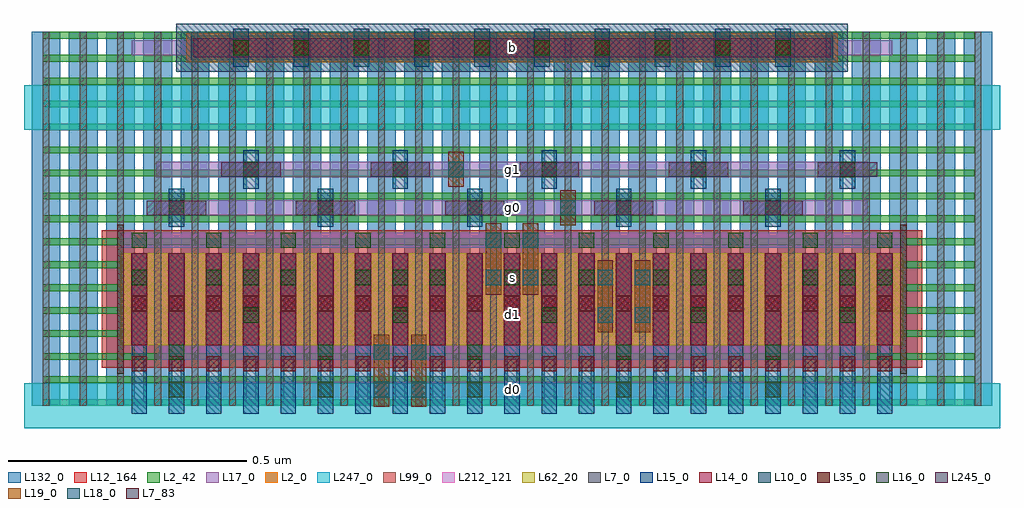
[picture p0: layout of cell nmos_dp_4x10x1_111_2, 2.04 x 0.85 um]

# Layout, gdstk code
import gdstk
lib = gdstk.Library(unit=1e-6, precision=1e-12)
def R(c, l, rs):  # rectangles x0, y0, x1, y1
    for r in rs: c.add(gdstk.rectangle(r[:2], r[2:], *l))
def A(c, l, x, y, w, h, nx, ny, dx, dy):  # array of equal rectangles
    R(c, l, [(x+i*dx, y+j*dy, x+i*dx+w, y+j*dy+h) for i in range(nx) for j in range(ny)])
L2_0 = (2, 0)
L2_42 = (2, 42)
L7_0 = (7, 0)
L7_83 = (7, 83)
L10_0 = (10, 0)
L12_164 = (12, 164)
L14_0 = (14, 0)
L15_0 = (15, 0)
L16_0 = (16, 0)
L17_0 = (17, 0)
L18_0 = (18, 0)
L19_0 = (19, 0)
L35_0 = (35, 0)
L62_20 = (62, 20)
L99_0 = (99, 0)
L132_0 = (132, 0)
L212_121 = (212, 121)
L245_0 = (245, 0)
L247_0 = (247, 0)

nmos_dp_4x10x1_111_2 = lib.new_cell('nmos_dp_4x10x1_111_2')
R(nmos_dp_4x10x1_111_2, L2_0, [(0.186,0.127,1.824,0.319), (0.323,0.719,1.687,0.779)])
A(nmos_dp_4x10x1_111_2, L2_42, 0.023, 0, 1.95, 0.014, 1, 17, 0, 0.048)
A(nmos_dp_4x10x1_111_2, L7_0, 0.023, 0, 0.014, 0.782, 26, 1, 0.078, 0)
R(nmos_dp_4x10x1_111_2, L7_83, [(0.179,0.067,0.193,0.379), (1.817,0.067,1.831,0.379)])
R(nmos_dp_4x10x1_111_2, L10_0, [(0.303,0.699,1.707,0.799)])
R(nmos_dp_4x10x1_111_2, L12_164, [(0.147,0.079,1.863,0.367)])
A(nmos_dp_4x10x1_111_2, L14_0, 0.208, 0.127, 0.034, 0.192, 21, 1, 0.078, 0)
R(nmos_dp_4x10x1_111_2, L14_0, [(0.338,0.729,1.672,0.769)])
A(nmos_dp_4x10x1_111_2, L15_0, 0.209, -0.017, 0.032, 0.336, 21, 1, 0.078, 0)
A(nmos_dp_4x10x1_111_2, L15_0, 0.287, 0.374, 0.032, 0.08, 5, 1, 0.312, 0)
A(nmos_dp_4x10x1_111_2, L15_0, 0.443, 0.454, 0.032, 0.08, 5, 1, 0.312, 0)
A(nmos_dp_4x10x1_111_2, L15_0, 0.422, 0.709, 0.032, 0.08, 10, 1, 0.126, 0)
A(nmos_dp_4x10x1_111_2, L16_0, 0.287, 0.018, 0.032, 0.032, 5, 2, 0.312, 0.078)
A(nmos_dp_4x10x1_111_2, L16_0, 0.443, 0.174, 0.032, 0.032, 5, 2, 0.312, 0.304)
A(nmos_dp_4x10x1_111_2, L16_0, 0.365, 0.252, 0.032, 0.032, 3, 1, 0.078, 0)
A(nmos_dp_4x10x1_111_2, L16_0, 0.677, 0.252, 0.032, 0.032, 3, 1, 0.078, 0)
A(nmos_dp_4x10x1_111_2, L16_0, 0.989, 0.252, 0.032, 0.032, 3, 1, 0.078, 0)
A(nmos_dp_4x10x1_111_2, L16_0, 1.301, 0.252, 0.032, 0.032, 3, 1, 0.078, 0)
A(nmos_dp_4x10x1_111_2, L16_0, 1.613, 0.252, 0.032, 0.032, 3, 1, 0.078, 0)
A(nmos_dp_4x10x1_111_2, L16_0, 0.209, 0.33, 0.032, 0.032, 11, 1, 0.156, 0)
A(nmos_dp_4x10x1_111_2, L16_0, 0.287, 0.398, 0.032, 0.032, 5, 1, 0.312, 0)
A(nmos_dp_4x10x1_111_2, L16_0, 0.422, 0.733, 0.032, 0.032, 10, 1, 0.126, 0)
R(nmos_dp_4x10x1_111_2, L16_0, [(0.209,0.252,0.241,0.284)])
A(nmos_dp_4x10x1_111_2, L17_0, 0.267, 0.018, 1.476, 0.032, 1, 4, 0, 0.078)
R(nmos_dp_4x10x1_111_2, L17_0, [(0.186,0.252,1.824,0.284), (0.186,0.33,1.824,0.362), (0.261,0.398,1.749,0.43), (0.261,0.478,1.749,0.51), (0.209,0.733,1.801,0.765)])
R(nmos_dp_4x10x1_111_2, L18_0, [(0.716,0.018,0.748,0.05), (0.794,0.018,0.826,0.05), (0.716,0.096,0.748,0.128), (0.794,0.096,0.826,0.128), (1.184,0.174,1.216,0.206), (1.262,0.174,1.294,0.206), (0.95,0.252,0.982,0.284), (1.028,0.252,1.06,0.284), (1.184,0.252,1.216,0.284), (1.262,0.252,1.294,0.284), (0.95,0.33,0.982,0.362), (1.028,0.33,1.06,0.362), (1.106,0.398,1.138,0.43), (0.872,0.478,0.904,0.51)])
R(nmos_dp_4x10x1_111_2, L19_0, [(0.716,-0.002,0.748,0.148), (0.794,-0.002,0.826,0.148), (1.184,0.154,1.216,0.304), (1.262,0.154,1.294,0.304), (0.95,0.232,0.982,0.382), (1.028,0.232,1.06,0.382), (1.106,0.378,1.138,0.451), (0.872,0.458,0.904,0.531)])
A(nmos_dp_4x10x1_111_2, L35_0, 0.209, 0.072, 0.032, 0.032, 21, 2, 0.078, 0.126)
A(nmos_dp_4x10x1_111_2, L35_0, 0.287, 0.398, 0.032, 0.032, 5, 1, 0.312, 0)
A(nmos_dp_4x10x1_111_2, L35_0, 0.443, 0.478, 0.032, 0.032, 5, 1, 0.312, 0)
A(nmos_dp_4x10x1_111_2, L35_0, 0.422, 0.733, 0.032, 0.032, 10, 1, 0.126, 0)
R(nmos_dp_4x10x1_111_2, L62_20, [(0.186,0.127,1.824,0.319)])
R(nmos_dp_4x10x1_111_2, L99_0, [(0.186,0.127,1.824,0.319), (0.333,0.724,1.677,0.774)])
A(nmos_dp_4x10x1_111_2, L132_0, 0, 0, 0.06, 0.782, 26, 1, 0.078, 0)
R(nmos_dp_4x10x1_111_2, L212_121, [(0.186,0.127,1.824,0.319)])
A(nmos_dp_4x10x1_111_2, L245_0, 0.241, 0.399, 0.124, 0.03, 5, 1, 0.312, 0)
A(nmos_dp_4x10x1_111_2, L245_0, 0.397, 0.479, 0.124, 0.03, 5, 1, 0.312, 0)
R(nmos_dp_4x10x1_111_2, L247_0, [(-0.016,-0.047,2.026,0.047), (-0.016,0.577,2.026,0.671)])
nmos_dp_4x10x1_111_2.add(gdstk.Label('s', (1.005,0.268), layer=16, texttype=20))
nmos_dp_4x10x1_111_2.add(gdstk.Label('d1', (1.005,0.19), layer=16, texttype=20))
nmos_dp_4x10x1_111_2.add(gdstk.Label('d0', (1.005,0.034), layer=16, texttype=20))
nmos_dp_4x10x1_111_2.add(gdstk.Label('g0', (1.005,0.4145), layer=16, texttype=20))
nmos_dp_4x10x1_111_2.add(gdstk.Label('g1', (1.005,0.4945), layer=16, texttype=20))
nmos_dp_4x10x1_111_2.add(gdstk.Label('b', (1.005,0.749), layer=16, texttype=20))

lib.write_gds('nmos_dp_4x10x1_111_2.gds')
